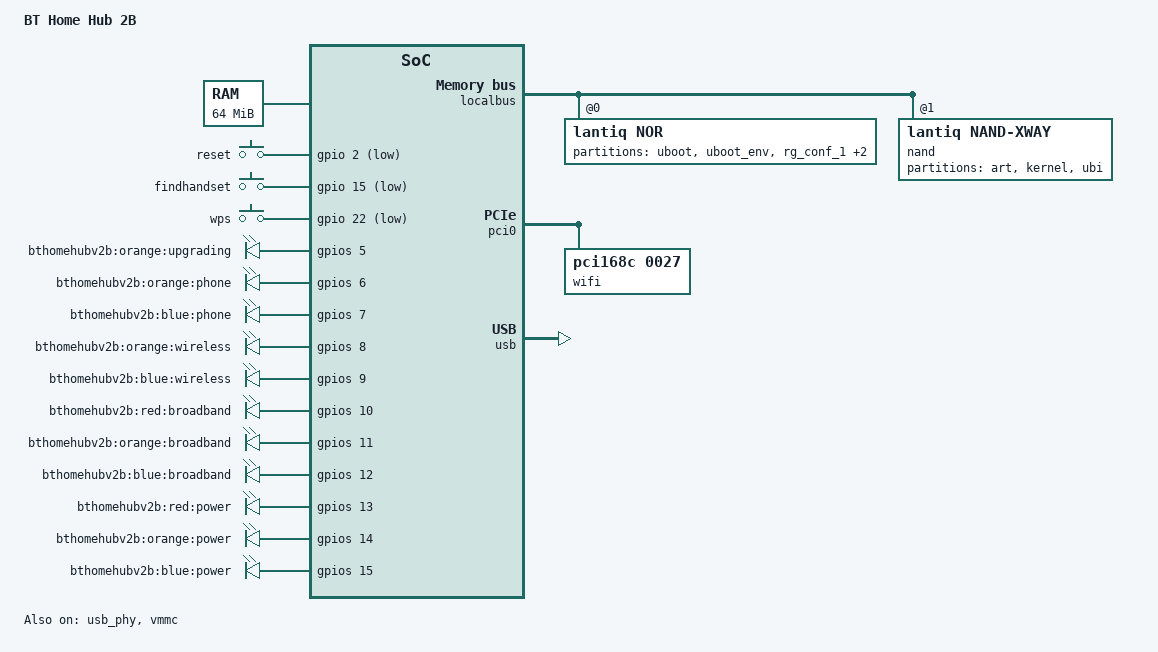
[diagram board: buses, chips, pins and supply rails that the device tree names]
/dts-v1/;

#include "danube.dtsi"

#include <dt-bindings/input/input.h>

/ {
	compatible = "bt,homehub-v2b", "lantiq,xway", "lantiq,danube";
	model = "BT Home Hub 2B";  /* SoC: Lantiq Danube-S PSB 50712 @ 333MHz V1.3/1.5 */

	chosen {
		bootargs = "console=ttyLTQ0,115200";
	};

	aliases {
		led-boot = &power_orange;
		led-failsafe = &power_red;
		led-running = &power_blue;

		led-dsl = &broadband_blue;
		led-wifi = &wireless_blue;
	};

	memory@0 {				  /* RAM: Samsung K4H511638F-LC 64MB */
		reg = <0x0 0x4000000>;
	};

	gpio-keys-polled {
		compatible = "gpio-keys-polled";
		#address-cells = <1>;
		#size-cells = <0>;
		poll-interval = <100>;

		reset {
			label = "reset";
			gpios = <&gpio 2 GPIO_ACTIVE_LOW>;
			linux,code = <KEY_RESTART>;
		};
		findhandset {
			label = "findhandset";
			gpios = <&gpio 15 GPIO_ACTIVE_LOW>;
			linux,code = <KEY_PHONE>;
		};
		wps {
			label = "wps";
			gpios = <&gpio 22 GPIO_ACTIVE_LOW>;
			linux,code = <KEY_WPS_BUTTON>;
		};
	};

	gpio-leds {
		compatible = "gpio-leds";

		upgrading-orange {
			label = "bthomehubv2b:orange:upgrading";
			gpios = <&gpios 5 GPIO_ACTIVE_HIGH>;
		};

		phone-orange {
			label = "bthomehubv2b:orange:phone";
			gpios = <&gpios 6 GPIO_ACTIVE_HIGH>;
		};
		phone-blue {
			label = "bthomehubv2b:blue:phone";
			gpios = <&gpios 7 GPIO_ACTIVE_HIGH>;
		};

		wireless-orange {
			label = "bthomehubv2b:orange:wireless";
			gpios = <&gpios 8 GPIO_ACTIVE_HIGH>;
		};
		wireless_blue: wireless-blue {
			label = "bthomehubv2b:blue:wireless";
			gpios = <&gpios 9 GPIO_ACTIVE_HIGH>;
		};

		broadband-red {
			label = "bthomehubv2b:red:broadband";
			gpios = <&gpios 10 GPIO_ACTIVE_HIGH>;
		};
		broadband-orange {
			label = "bthomehubv2b:orange:broadband";
			gpios = <&gpios 11 GPIO_ACTIVE_HIGH>;
		};
		broadband_blue: broadband-blue {
			label = "bthomehubv2b:blue:broadband";
			gpios = <&gpios 12 GPIO_ACTIVE_HIGH>;
		};

		power_red: power-red {
			label = "bthomehubv2b:red:power";
			gpios = <&gpios 13 GPIO_ACTIVE_HIGH>;
		};
		power_orange: power-orange {
			label = "bthomehubv2b:orange:power";
			gpios = <&gpios 14 GPIO_ACTIVE_HIGH>;
			default-state = "keep";
		};
		power_blue: power-blue {
			label = "bthomehubv2b:blue:power";
			gpios = <&gpios 15 GPIO_ACTIVE_HIGH>;
		};
	};
};

&gpio {
	pinctrl-names = "default";
	pinctrl-0 = <&state_default>;

	state_default: pinmux {
		nand_out {
			lantiq,groups = "nand cle", "nand ale";
			lantiq,function = "ebu";
			lantiq,output = <1>;
			lantiq,open-drain = <0>;
			lantiq,pull = <0>;
		};
		nand_cs1 {
			lantiq,groups = "nand cs1";
			lantiq,function = "ebu";
			lantiq,open-drain = <0>;
			lantiq,pull = <0>;
		};
		exin {
			lantiq,groups = "exin1";
			lantiq,function = "exin";
		};
		pci_in {
			lantiq,groups = "req1";
			lantiq,function = "pci";
			lantiq,output = <0>;
			lantiq,open-drain = <1>;
			lantiq,pull = <2>;
		};
		pci_out {
			lantiq,groups = "gnt1";
			lantiq,function = "pci";
			lantiq,output = <1>;
			lantiq,open-drain = <0>;
			lantiq,pull = <0>;
		};

		pci_rst {
			lantiq,pins = "io21";
			lantiq,output = <1>;
			lantiq,open-drain = <0>;
		};

		btn_in {
			lantiq,pins = "io2", "io15", "io22";
			lantiq,output = <0>;
			lantiq,open-drain = <1>;
			lantiq,pull = <2>;
		};
	};
};

&gpios {
	status = "okay";
};

&gsw {
	phy-mode = "rmii";
};

&localbus {
	nor@0 {				/* NOR Flash: Spansion S29AL004D 512KB */
		compatible = "lantiq,nor";	/* "AMD AM29LV400BB" compatible on 3.3.8 */
		lantiq,cs = <0>;
		bank-width = <2>;
		reg = <0 0x0 0x80000>;
		#address-cells = <1>;
		#size-cells = <1>;

		partitions {
			compatible = "fixed-partitions";
			#address-cells = <1>;
			#size-cells = <1>;

			partition@0 {
				label = "uboot";
				reg = <0x00000 0x40000>; /* 256KB */
			};

			partition@40000 {
				label = "uboot_env";
				reg = <0x40000 0x10000>; /* 64KB */
			};

			partition@50000 {
				label = "rg_conf_1";
				reg = <0x50000 0x10000>;
			};

			partition@60000 {
				label = "rg_conf_2";
				reg = <0x60000 0x10000>;
			};

			partition@70000 {
				label = "rg_conf_factory";
				reg = <0x70000 0x10000>;
			};
		};
	};

	nand@1 {		  /* NAND Flash: Samsung K9F5608U0D-JIB0 32MB */
		compatible = "lantiq,nand-xway";
		lantiq,cs = <1>;
		bank-width = <2>;
		reg = <1 0x0 0x2000000 >;
		#address-cells = <1>;
		#size-cells = <1>;
		req-mask = <0x1>;  /* PCI request lines to mask during NAND access */

		partitions {
			compatible = "fixed-partitions";
			#address-cells = <1>;
			#size-cells = <1>;

			ath9k_cal: partition@0 {
				label = "art";	   /* Atheros 9160 wifi b/g/n radio EEPROM */
				reg = <0x00000 0x4000>;
				read-only;
			};

			partition@4000 {
				label = "kernel";
				reg = <0x4000 0x200000>;
			};

			partition@164000 {
				label = "ubi";
				reg = <0x204000 0x1DFC000>;
			};
		};
	};
};

&pci0 {
	status = "okay";
	gpio-reset = <&gpio 21 GPIO_ACTIVE_HIGH>;

	wifi@168c,0027 {
		compatible = "pci168c,0027";
		reg = <0x7000 0 0 0 0>;
		qca,no-eeprom; /* load from ath9k-eeprom-pci-0000:00:0e.0.bin */
	};
};

&usb_phy {
	status = "okay";
};

&usb {
	status = "okay";
};

&vmmc {
	status = "okay";
	gpios = <&gpio 31 GPIO_ACTIVE_HIGH>;
};
